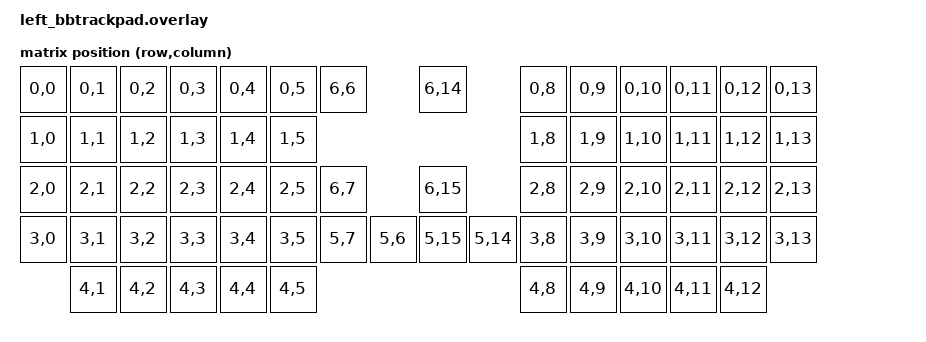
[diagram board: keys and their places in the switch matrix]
/*
*
* Copyright (c) 2025 ZitaoTech
* SPDX-License-Identifier: MIT
*
*/

#define MOUSE_LAYER_ID 3

/ {
    chosen {
        zmk,trackpad_led = &trackpad_led;
    };
    trackpad_led: pwmledo{
        compatible = "pwm-leds";
        pwm_led_0 {
            pwms = <&pwm1 0 PWM_USEC(20) PWM_POLARITY_NORMAL>;
        };
    };
    default_transform: keymap_transform_0 {
        compatible = "zmk,matrix-transform";
        columns = <16>;
        rows = <7>;
        map = <
RC(0,0)  RC(0,1) RC(0,2) RC(0,3) RC(0,4) RC(0,5)  RC(6,6)             RC(6,14)           RC(0,8)  RC(0,9)  RC(0,10) RC(0,11) RC(0,12) RC(0,13)
RC(1,0)  RC(1,1) RC(1,2) RC(1,3) RC(1,4) RC(1,5)                                         RC(1,8)  RC(1,9)  RC(1,10) RC(1,11) RC(1,12) RC(1,13)
RC(2,0)  RC(2,1) RC(2,2) RC(2,3) RC(2,4) RC(2,5)  RC(6,7)             RC(6,15)           RC(2,8)  RC(2,9)  RC(2,10) RC(2,11) RC(2,12) RC(2,13)
RC(3,0)  RC(3,1) RC(3,2) RC(3,3) RC(3,4) RC(3,5)  RC(5,7)  RC(5,6)    RC(5,15) RC(5,14)  RC(3,8)  RC(3,9)  RC(3,10) RC(3,11) RC(3,12) RC(3,13)
         RC(4,1) RC(4,2) RC(4,3) RC(4,4) RC(4,5)                                         RC(4,8)  RC(4,9)  RC(4,10) RC(4,11) RC(4,12)
        >;
    };
};

&pwm1 {
    status = "okay";
    pinctrl-0 = <&pwm1_default>;
    pinctrl-1 = <&pwm1_sleep>;
    pinctrl-names = "default", "sleep";
};


&i2c0 {
    status = "okay";
    compatible = "nordic,nrf-twim";
    clock-frequency = <I2C_BITRATE_FAST>; 
    pinctrl-0 = <&i2c0_default>;
    pinctrl-1 = <&i2c0_sleep>;
    pinctrl-names = "default", "sleep";

    bbtrackpad:a320@3B {
        compatible = "avago,a320";
        reg = <0x3B>;
        status = "okay";
    };
    
};


/ {
    bbtrackpad_inputs {
        #address-cells = <1>;
        #size-cells = <0>;

    };
    bbtrackpad_listener: bbtrackpad_listener {
        compatible = "zmk,input-listener";
        status = "disabled";
        device = <&bbtrackpad>;
    };
};

&bbtrackpad_listener {
    status = "okay";
    input-processors =
    <&zip_temp_layer 3 600>,
    <&ip_behaviors0>,
    <&ip_behaviors1>,
    <&ip_behaviors2>,
    <&ip_behaviors3>;
};

 
&pinctrl {
    pwm1_default:pwm1_default{
        group1{
            psels = <NRF_PSEL(PWM_OUT0, 0, 7)>; // Backlight for Trackball
        };
    };

    pwm1_sleep: pwm1_sleep {
        group1 {
            psels = <NRF_PSEL(PWM_OUT0, 0, 7)>;
            bias-pull-down;
        };
    };

    i2c0_default: i2c0_default {
        group1 {
            psels = <NRF_PSEL(TWIM_SDA, 1, 9)>,
                <NRF_PSEL(TWIM_SCL, 0, 12)>;
        };
    };

    i2c0_sleep: i2c0_sleep {
        group1 {
            psels = <NRF_PSEL(TWIM_SDA, 1, 9)>,
                <NRF_PSEL(TWIM_SCL, 0, 12)>;
            low-power-enable;
        };
    };
};


